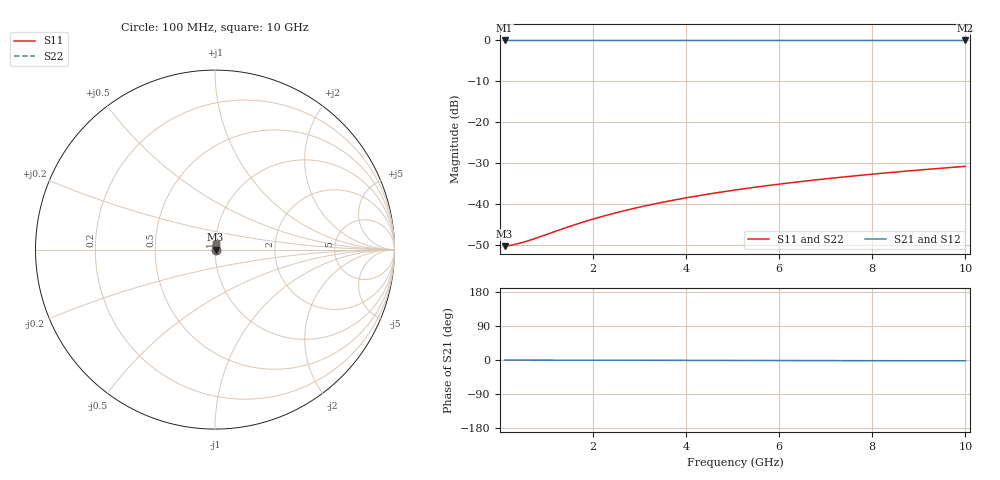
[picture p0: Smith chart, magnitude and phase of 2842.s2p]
# Hz S RI R 50.00
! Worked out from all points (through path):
!   100 points, 100 MHz to 10 GHz, reference 50 ohm
!   highest |S21| = -0.03 dB at 100 MHz (marker M1); lowest = 0.0 dB at 10 GHz (marker M2)
!   lowest |S11| = -50.2 dB at 100 MHz (marker M3), VSWR 1.01, Z = 50.3 + j0.0288 ohm
!   |S11| at or under -10 dB: start of sweep to end of sweep
!   |S22| runs from -50.2 to -30.8 dB; largest |S21 - S12| = 0
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1e8  0.00306 0.000286  0.9969 -0.000407  0.9969 -0.000407  0.00306 0.000286
2e8  0.00308 0.000573  0.9969 -0.000814  0.9969 -0.000814  0.00308 0.000573
3e8  0.0031 0.000859  0.9969 -0.00122  0.9969 -0.00122  0.0031 0.000859
4e8  0.00311 0.00115  0.9969 -0.00163  0.9969 -0.00163  0.00311 0.00115
6e8  0.00313 0.00172  0.9969 -0.00244  0.9969 -0.00244  0.00313 0.00172
8e8  0.00315 0.00229  0.9969 -0.00326  0.9969 -0.00326  0.00315 0.00229
1.4e9  0.0032 0.00401  0.9968 -0.0057  0.9968 -0.0057  0.0032 0.00401
1.8e9  0.00323 0.00515  0.9968 -0.00733  0.9968 -0.00733  0.00323 0.00515
2.2e9  0.00326 0.0063  0.9967 -0.00896  0.9967 -0.00896  0.00326 0.0063
2.6e9  0.0033 0.00744  0.9967 -0.0106  0.9967 -0.0106  0.0033 0.00744
3e9  0.00334 0.00859  0.9967 -0.0122  0.9967 -0.0122  0.00334 0.00859
3.4e9  0.00338 0.00973  0.9966 -0.0138  0.9966 -0.0138  0.00338 0.00973
3.8e9  0.00342 0.0109  0.9966 -0.0155  0.9966 -0.0155  0.00342 0.0109
4.2e9  0.00347 0.012  0.9965 -0.0171  0.9965 -0.0171  0.00347 0.012
4.6e9  0.00352 0.0132  0.9965 -0.0187  0.9965 -0.0187  0.00352 0.0132
5.1e9  0.00359 0.0146  0.9964 -0.0208  0.9964 -0.0208  0.00359 0.0146
5.9e9  0.00371 0.0169  0.9963 -0.024  0.9963 -0.024  0.00371 0.0169
6.7e9  0.00384 0.0192  0.9961 -0.0273  0.9961 -0.0273  0.00384 0.0192
7.5e9  0.00399 0.0215  0.996 -0.0305  0.996 -0.0305  0.00399 0.0215
8.4e9  0.00417 0.024  0.9958 -0.0342  0.9958 -0.0342  0.00417 0.024
9.2e9  0.00435 0.0263  0.9956 -0.0375  0.9956 -0.0375  0.00435 0.0263
1e10  0.00455 0.0286  0.9954 -0.0407  0.9954 -0.0407  0.00455 0.0286
